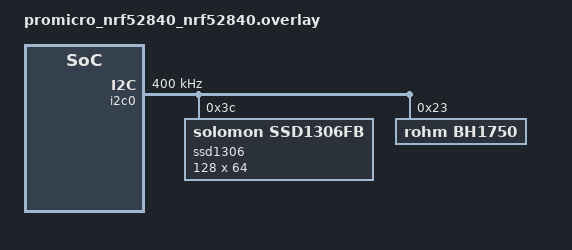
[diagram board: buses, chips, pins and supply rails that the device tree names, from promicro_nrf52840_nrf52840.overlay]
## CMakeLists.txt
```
cmake_minimum_required(VERSION 3.20.0)

find_package(Zephyr REQUIRED HINTS $ENV{ZEPHYR_BASE})
project(nrf52840_ssd1309_display)

# Display subsystem sources
target_sources(app PRIVATE
    src/main.c
    src/font.c
    src/display.c
    src/bh1750/bh1750_reader.c
    src/state/shared_state.c
    src/sensor/sensor_task.c
    src/ui/ui_task.c
    src/display/display_manager.c
)

# Include directories
target_include_directories(app PRIVATE
    ${CMAKE_CURRENT_SOURCE_DIR}/include
    ${CMAKE_CURRENT_SOURCE_DIR}/src
    ${CMAKE_CURRENT_SOURCE_DIR}/src/bh1750
    ${CMAKE_CURRENT_SOURCE_DIR}/src/state
    ${CMAKE_CURRENT_SOURCE_DIR}/src/sensor
    ${CMAKE_CURRENT_SOURCE_DIR}/src/ui
    ${CMAKE_CURRENT_SOURCE_DIR}/src/display
)
```

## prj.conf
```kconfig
# Display subsystem configuration
CONFIG_DISPLAY=y
CONFIG_SSD1306=y

# I2C configuration - nRF52840 uses nrfx driver
CONFIG_I2C=y
CONFIG_SENSOR=y

# Display logging
CONFIG_DISPLAY_LOG_LEVEL_DBG=y

# General logging
CONFIG_LOG=y
CONFIG_LOG_DEFAULT_LEVEL=3

# Threading support
CONFIG_MULTITHREADING=y
CONFIG_NUM_COOP_PRIORITIES=16
CONFIG_NUM_PREEMPT_PRIORITIES=16

CONFIG_BUILD_OUTPUT_UF2=y
```

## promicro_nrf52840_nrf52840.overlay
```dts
/*
 * Device tree overlay for Pro Micro nRF52840 with SSD1309 OLED display
 *
 * I2C Configuration:
 *   SDA: P1.00 (I2C0 SDA)
 *   SCL: P0.11 (I2C0 SCL)
 *   Speed: 400kHz (Fast Mode)
 *
 * Display Configuration:
 *   Controller: SSD1309 (compatible with SSD1306 driver)
 *   Resolution: 128x64 pixels
 *   I2C Address: 0x3C
 *
 * Note: pinctrl (i2c0_default/i2c0_sleep) and pin assignments are already
 * defined in the board's promicro_nrf52840-pinctrl.dtsi with the same pins.
 */

&i2c0 {
    clock-frequency = <I2C_BITRATE_FAST>;

    ssd1306: ssd1306@3c {
        compatible = "solomon,ssd1306fb";
        reg = <0x3c>;
        width = <128>;
        height = <64>;
        segment-offset = <0>;
        page-offset = <0>;
        display-offset = <0>;
        multiplex-ratio = <63>;
        prechargep = <0x22>;
    };

    /* BH1750 ambient light sensor (I2C address 0x23) */
    bh1750: bh1750@23 {
        compatible = "rohm,bh1750";
        reg = <0x23>;
    };
};
```

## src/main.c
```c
/* High level includes */
/* Include standard Zephyr headers compatible with older SDKs */
#include <zephyr/kernel.h>
#include <zephyr/device.h>
#include <zephyr/drivers/display.h>
#include <zephyr/logging/log.h>
/* Runtime arch: two-task approach uses sensor_task/ui_task */
/* Expose task entry points */
extern void sensor_task(void *a, void *b, void *c);
extern void ui_task(void *a, void *b, void *c);

LOG_MODULE_REGISTER(main, CONFIG_DISPLAY_LOG_LEVEL);

/* Thread stacks and priority */
K_THREAD_STACK_DEFINE(sensor_stack, 1024);
K_THREAD_STACK_DEFINE(ui_stack, 1024);
#define SENSOR_THREAD_PRIORITY 7
#define UI_THREAD_PRIORITY 6
static struct k_thread sensor_thread;
static struct k_thread ui_thread;

int main(void)
{
    LOG_INF("========================================");
    LOG_INF("SSD1309 OLED Display Demo");
    LOG_INF("Pro Micro nRF52840");
    LOG_INF("========================================");

    k_tid_t sensor_tid = k_thread_create(&sensor_thread, sensor_stack, 1024,
                                       sensor_task, NULL, NULL, NULL,
                                       SENSOR_THREAD_PRIORITY, 0, K_NO_WAIT);
    if (!sensor_tid) {
        LOG_ERR("Failed to create sensor thread");
        return -1;
    }
    LOG_INF("Sensor thread started (tid: %p)", sensor_tid);

    k_tid_t ui_tid = k_thread_create(&ui_thread, ui_stack, 1024,
                                      ui_task, NULL, NULL, NULL,
                                      UI_THREAD_PRIORITY, 0, K_NO_WAIT);
    if (!ui_tid) {
        LOG_ERR("Failed to create UI thread");
        return -1;
    }
    LOG_INF("UI thread started (tid: %p)", ui_tid);

    while (1) {
        k_sleep(K_SECONDS(1));
    }
    return 0;
}
```

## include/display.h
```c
#ifndef DISPLAY_H_
#define DISPLAY_H_

#include <zephyr/kernel.h>
#include <zephyr/drivers/display.h>

/* Display dimensions */
#define DISPLAY_WIDTH       128
#define DISPLAY_HEIGHT      64
#define DISPLAY_BUFFER_SIZE ((DISPLAY_WIDTH * DISPLAY_HEIGHT) / 8)

/* Font dimensions */
#define FONT_WIDTH  8
#define FONT_HEIGHT 8

/* Maximum characters per line */
#define MAX_CHARS_PER_LINE (DISPLAY_WIDTH / FONT_WIDTH)
#define MAX_LINES          (DISPLAY_HEIGHT / FONT_HEIGHT)

/* Error codes */
#define DISPLAY_SUCCESS         0
#define DISPLAY_ERR_DEVICE     -1
#define DISPLAY_ERR_I2C        -2
#define DISPLAY_ERR_TIMEOUT    -3
#define DISPLAY_ERR_PARAM      -4

/**
 * @brief Initialize the display subsystem
 * @return 0 on success, negative error code on failure
 */
int display_init(void);

/**
 * @brief Write text at specified position
 * @param x X coordinate in pixels (0-127)
 * @param y Y coordinate in pages (0-7, each page is 8 pixels)
 * @param text Null-terminated string
 * @return 0 on success, negative error code on failure
 */
int display_write_text(uint16_t x, uint8_t y, const char *text);

/**
 * @brief Write integer at specified position
 * @param x X coordinate in pixels
 * @param y Y coordinate in pages
 * @param value Integer value to display
 * @return 0 on success, negative error code on failure
 */
int display_write_int(uint16_t x, uint8_t y, int32_t value);

/**
 * @brief Write hex value at specified position
 * @param x X coordinate in pixels
 * @param y Y coordinate in pages
 * @param value Hex value to display
 * @return 0 on success, negative error code on failure
 */
int display_write_hex(uint16_t x, uint8_t y, uint32_t value);

/**
 * @brief Clear the display
 * @return 0 on success, negative error code on failure
 */

/**
 * @brief Set display contrast
 * @param contrast Contrast level (0-255)
 * @return 0 on success, negative error code on failure
 */
int oled_clear(void);

/**
 * @brief Set display contrast (user function, tránh xung đột với Zephyr API)
 * @param contrast Contrast level (0-255)
 * @return 0 on success, negative error code on failure
 */
int oled_set_contrast(uint8_t contrast);

/**
 * @brief Set display inversion mode
 * @param invert true to invert display, false for normal
 * @return 0 on success, negative error code on failure
 */
int display_set_inversion(bool invert);

/**
 * @brief Turn display off (low power)
 * @return 0 on success, negative error code on failure
 */
int display_off(void);

/**
 * @brief Turn display on
 * @return 0 on success, negative error code on failure
 */
int display_on(void);

/**
 * @brief Get display device pointer
 * @return Pointer to display device, NULL if not initialized
 */
const struct device *display_get_device(void);

/**
 * @brief Update display from buffer
 * @return 0 on success, negative error code on failure
 */
int display_update(void);

/**
 * @brief Get frame buffer pointer
 * @return Pointer to frame buffer
 */
uint8_t *display_get_buffer(void);

#endif /* DISPLAY_H_ */
```

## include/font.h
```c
#ifndef FONT_H_
#define FONT_H_

#include <stdint.h>
#include <stdbool.h>
#include <stddef.h>

/* Font dimensions */
#define FONT_WIDTH  8
#define FONT_HEIGHT 8

/* Display dimensions (for bounds checking) */
#define FONT_DISPLAY_WIDTH 128

/* ASCII range */
#define FONT_FIRST_CHAR 32
#define FONT_LAST_CHAR  126
#define FONT_CHAR_COUNT (FONT_LAST_CHAR - FONT_FIRST_CHAR + 1)

/**
 * @brief Get pixel data for a character
 * @param c ASCII character (32-126)
 * @return Pointer to 8-byte glyph data, NULL if character not supported
 */
const uint8_t *font_get_glyph(char c);

/**
 * @brief Render a character to a buffer
 * @param buf Destination buffer (must be at least 8 bytes)
 * @param buf_size Size of destination buffer
 * @param c Character to render
 * @param x X position in pixels
 * @param y Y position in pixels (page address, 0-7)
 * @return 0 on success, -1 if character not supported
 */
int font_render_char(uint8_t *buf, size_t buf_size, char c, uint16_t x, uint8_t y);

/**
 * @brief Check if character is renderable
 * @param c Character to check
 * @return true if character can be rendered
 */
bool font_is_printable(char c);

#endif /* FONT_H_ */
```

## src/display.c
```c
#include "display.h"
#include "font.h"
#include <zephyr/device.h>
#include <zephyr/devicetree.h>
#include <zephyr/drivers/display.h>
#include <zephyr/logging/log.h>
#include <string.h>

#define DISPLAY_NODE DT_NODELABEL(ssd1306)

LOG_MODULE_REGISTER(display, CONFIG_DISPLAY_LOG_LEVEL);

/* Frame buffer - SSD1306 uses 8 pages of 128 bytes each */
static uint8_t frame_buffer[DISPLAY_BUFFER_SIZE];

/* Display device */
static const struct device *display_dev = DEVICE_DT_GET(DISPLAY_NODE);

/* Display initialized flag */
static bool initialized = false;

int display_init(void)
{
    if (!device_is_ready(display_dev)) {
        LOG_ERR("Display device not ready");
        return DISPLAY_ERR_DEVICE;
    }

    /* Clear frame buffer */
    memset(frame_buffer, 0, DISPLAY_BUFFER_SIZE);
    initialized = true;
    LOG_INF("Display initialized successfully");
    LOG_INF("Display device: %s", display_dev->name);
    return DISPLAY_SUCCESS;
}

int display_write_text(uint16_t x, uint8_t y, const char *text)
{
    const char *ptr;
    uint16_t cur_x;
    int ret;

    if (!initialized || text == NULL) {
        return DISPLAY_ERR_PARAM;
    }

    if (y >= MAX_LINES) {
        return DISPLAY_ERR_PARAM;
    }

    cur_x = x;
    ptr = text;

    while (*ptr != '\0' && cur_x < DISPLAY_WIDTH) {
        ret = font_render_char(frame_buffer, DISPLAY_BUFFER_SIZE, *ptr, cur_x, y);
        if (ret < 0) {
            /* Skip unprintable character */
        }
        cur_x += FONT_WIDTH;
        ptr++;
    }

    return DISPLAY_SUCCESS;
}

int display_write_int(uint16_t x, uint8_t y, int32_t value)
{
    char buf[12];  /* -2147483648 + null */
    char *ptr = buf + sizeof(buf) - 1;
    bool negative = false;
    int32_t abs_value;
    int len = 0;

    if (!initialized) {
        return DISPLAY_ERR_PARAM;
    }

    *ptr = '\0';

    if (value < 0) {
        negative = true;
        abs_value = -value;
    } else {
        abs_value = value;
    }

    if (abs_value == 0) {
        *--ptr = '0';
        len = 1;
    } else {
        while (abs_value > 0) {
            *--ptr = '0' + (abs_value % 10);
            abs_value /= 10;
            len++;
        }
    }

    if (negative) {
        *--ptr = '-';
        len++;
    }

    return display_write_text(x, y, ptr);
}

int display_write_hex(uint16_t x, uint8_t y, uint32_t value)
{
    char buf[9];  /* 8 hex digits + null */
    static const char hex_chars[] = "0123456789ABCDEF";
    int i;

    if (!initialized) {
        return DISPLAY_ERR_PARAM;
    }

    buf[8] = '\0';
    for (i = 7; i >= 0; i--) {
        buf[i] = hex_chars[value & 0x0F];
        value >>= 4;
    }

    return display_write_text(x, y, buf);
}

int oled_clear(void)
{
    if (!initialized) {
        return DISPLAY_ERR_PARAM;
    }
    memset(frame_buffer, 0, DISPLAY_BUFFER_SIZE);
    return DISPLAY_SUCCESS;
}

int oled_set_contrast(uint8_t contrast)
{
    int ret;
    struct display_capabilities caps;
    
    if (!initialized) {
        return DISPLAY_ERR_PARAM;
    }

    display_get_capabilities(display_dev, &caps);
    
    /* Use display_blanking_off to ensure display is on */
    ret = display_blanking_off(display_dev);
    if (ret < 0) {
        LOG_ERR("Failed to turn on display: %d", ret);
        return DISPLAY_ERR_I2C;
    }

    return DISPLAY_SUCCESS;
}

int display_set_inversion(bool invert)
{
    if (!initialized) {
        return DISPLAY_ERR_PARAM;
    }

    /* SSD1306 driver doesn't have runtime inversion API */
    /* This would require sending direct commands */
    return DISPLAY_SUCCESS;
}

int display_off(void)
{
    int ret;
    
    if (!initialized) {
        return DISPLAY_ERR_PARAM;
    }

    ret = display_blanking_on(display_dev);
    if (ret < 0) {
        LOG_ERR("Failed to turn off display: %d", ret);
        return DISPLAY_ERR_I2C;
    }

    return DISPLAY_SUCCESS;
}

int display_on(void)
{
    int ret;
    
    if (!initialized) {
        return DISPLAY_ERR_PARAM;
    }

    ret = display_blanking_off(display_dev);
    if (ret < 0) {
        LOG_ERR("Failed to turn on display: %d", ret);
        return DISPLAY_ERR_I2C;
    }

    return DISPLAY_SUCCESS;
}

int display_update(void)
{
    int ret;
    struct display_buffer_descriptor buf_desc = {
        .buf_size = DISPLAY_BUFFER_SIZE,
        .width = DISPLAY_WIDTH,
        .height = DISPLAY_HEIGHT,
        .pitch = DISPLAY_WIDTH,
    };

    if (!initialized) {
        return DISPLAY_ERR_PARAM;
    }

    ret = display_write(display_dev, 0, 0, &buf_desc, frame_buffer);
    if (ret < 0) {
        LOG_ERR("Failed to write display: %d", ret);
        return DISPLAY_ERR_I2C;
    }

    return DISPLAY_SUCCESS;
}

const struct device *display_get_device(void)
{
    return display_dev;
}

uint8_t *display_get_buffer(void)
{
    return frame_buffer;
}
```

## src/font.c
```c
#include "font.h"
#include <string.h>

/*
 * 8x8 pixel font data for ASCII 32-126
 * Each character is 8 bytes, one byte per row (MSB = leftmost pixel)
 */
static const uint8_t font_8x8[FONT_CHAR_COUNT][8] = {
    /* 32 ' ' */ {0x00, 0x00, 0x00, 0x00, 0x00, 0x00, 0x00, 0x00},
    /* 33 '!' */ {0x18, 0x18, 0x18, 0x18, 0x18, 0x00, 0x18, 0x00},
    /* 34 '"' */ {0x6C, 0x6C, 0x24, 0x00, 0x00, 0x00, 0x00, 0x00},
    /* 35 '#' */ {0x6C, 0x6C, 0xFE, 0x6C, 0xFE, 0x6C, 0x6C, 0x00},
    /* 36 '$ */ {0x18, 0x3E, 0x60, 0x3C, 0x06, 0x7C, 0x18, 0x00},
    /* 37 '%' */ {0x00, 0xC6, 0xCC, 0x18, 0x30, 0x66, 0xC6, 0x00},
    /* 38 '&' */ {0x38, 0x6C, 0x38, 0x76, 0xDC, 0xCC, 0x76, 0x00},
    /* 39 ''' */ {0x18, 0x18, 0x30, 0x00, 0x00, 0x00, 0x00, 0x00},
    /* 40 '(' */ {0x0C, 0x18, 0x30, 0x30, 0x30, 0x18, 0x0C, 0x00},
    /* 41 ')' */ {0x30, 0x18, 0x0C, 0x0C, 0x0C, 0x18, 0x30, 0x00},
    /* 42 '*' */ {0x00, 0x66, 0x3C, 0xFF, 0x3C, 0x66, 0x00, 0x00},
    /* 43 '+' */ {0x00, 0x18, 0x18, 0x7E, 0x18, 0x18, 0x00, 0x00},
    /* 44 ',' */ {0x00, 0x00, 0x00, 0x00, 0x00, 0x18, 0x18, 0x30},
    /* 45 '-' */ {0x00, 0x00, 0x00, 0x7E, 0x00, 0x00, 0x00, 0x00},
    /* 46 '.' */ {0x00, 0x00, 0x00, 0x00, 0x00, 0x18, 0x18, 0x00},
    /* 47 '/' */ {0x06, 0x0C, 0x18, 0x30, 0x60, 0xC0, 0x80, 0x00},
    /* 48 '0' */ {0x7C, 0xC6, 0xCE, 0xD6, 0xE6, 0xC6, 0x7C, 0x00},
    /* 49 '1' */ {0x18, 0x38, 0x18, 0x18, 0x18, 0x18, 0x7E, 0x00},
    /* 50 '2' */ {0x7C, 0xC6, 0x06, 0x1C, 0x30, 0x66, 0xFE, 0x00},
    /* 51 '3' */ {0x7C, 0xC6, 0x06, 0x3C, 0x06, 0xC6, 0x7C, 0x00},
    /* 52 '4' */ {0x1C, 0x3C, 0x6C, 0xCC, 0xFE, 0x0C, 0x1E, 0x00},
    /* 53 '5' */ {0xFE, 0xC0, 0xC0, 0xFC, 0x06, 0xC6, 0x7C, 0x00},
    /* 54 '6' */ {0x38, 0x60, 0xC0, 0xFC, 0xC6, 0xC6, 0x7C, 0x00},
    /* 55 '7' */ {0xFE, 0xC6, 0x0C, 0x18, 0x30, 0x30, 0x30, 0x00},
    /* 56 '8' */ {0x7C, 0xC6, 0xC6, 0x7C, 0xC6, 0xC6, 0x7C, 0x00},
    /* 57 '9' */ {0x7C, 0xC6, 0xC6, 0x7E, 0x06, 0x0C, 0x78, 0x00},
    /* 58 ':' */ {0x00, 0x18, 0x18, 0x00, 0x00, 0x18, 0x18, 0x00},
    /* 59 ';' */ {0x00, 0x18, 0x18, 0x00, 0x00, 0x18, 0x18, 0x30},
    /* 60 '<' */ {0x06, 0x0C, 0x18, 0x30, 0x18, 0x0C, 0x06, 0x00},
    /* 61 '=' */ {0x00, 0x00, 0x7E, 0x00, 0x00, 0x7E, 0x00, 0x00},
    /* 62 '>' */ {0x60, 0x30, 0x18, 0x0C, 0x18, 0x30, 0x60, 0x00},
    /* 63 '?' */ {0x7C, 0xC6, 0x0C, 0x18, 0x18, 0x00, 0x18, 0x00},
    /* 64 '@' */ {0x7C, 0xC6, 0xDE, 0xDE, 0xDE, 0xC0, 0x78, 0x00},
    /* 65 'A' */ {0x38, 0x6C, 0xC6, 0xC6, 0xFE, 0xC6, 0xC6, 0x00},
    /* 66 'B' */ {0xFC, 0x66, 0x66, 0x7C, 0x66, 0x66, 0xFC, 0x00},
    /* 67 'C' */ {0x3C, 0x66, 0xC0, 0xC0, 0xC0, 0x66, 0x3C, 0x00},
    /* 68 'D' */ {0xF8, 0x6C, 0x66, 0x66, 0x66, 0x6C, 0xF8, 0x00},
    /* 69 'E' */ {0xFE, 0x62, 0x68, 0x78, 0x68, 0x62, 0xFE, 0x00},
    /* 70 'F' */ {0xFE, 0x62, 0x68, 0x78, 0x68, 0x60, 0xF0, 0x00},
    /* 71 'G' */ {0x3C, 0x66, 0xC0, 0xC0, 0xCE, 0x66, 0x3A, 0x00},
    /* 72 'H' */ {0xC6, 0xC6, 0xC6, 0xFE, 0xC6, 0xC6, 0xC6, 0x00},
    /* 73 'I' */ {0x3C, 0x18, 0x18, 0x18, 0x18, 0x18, 0x3C, 0x00},
    /* 74 'J' */ {0x1E, 0x0C, 0x0C, 0x0C, 0xCC, 0xCC, 0x78, 0x00},
    /* 75 'K' */ {0xE6, 0x66, 0x6C, 0x78, 0x6C, 0x66, 0xE6, 0x00},
    /* 76 'L' */ {0xF0, 0x60, 0x60, 0x60, 0x62, 0x66, 0xFE, 0x00},
    /* 77 'M' */ {0xC6, 0xEE, 0xFE, 0xFE, 0xD6, 0xC6, 0xC6, 0x00},
    /* 78 'N' */ {0xC6, 0xE6, 0xF6, 0xDE, 0xCE, 0xC6, 0xC6, 0x00},
    /* 79 'O' */ {0x7C, 0xC6, 0xC6, 0xC6, 0xC6, 0xC6, 0x7C, 0x00},
    /* 80 'P' */ {0xFC, 0x66, 0x66, 0x7C, 0x60, 0x60, 0xF0, 0x00},
    /* 81 'Q' */ {0x7C, 0xC6, 0xC6, 0xC6, 0xC6, 0xCE, 0x7C, 0x0E},
    /* 82 'R' */ {0xFC, 0x66, 0x66, 0x7C, 0x6C, 0x66, 0xE6, 0x00},
    /* 83 'S' */ {0x7C, 0xC6, 0x60, 0x38, 0x0C, 0xC6, 0x7C, 0x00},
    /* 84 'T' */ {0x7E, 0x7E, 0x5A, 0x18, 0x18, 0x18, 0x3C, 0x00},
    /* 85 'U' */ {0xC6, 0xC6, 0xC6, 0xC6, 0xC6, 0xC6, 0x7C, 0x00},
    /* 86 'V' */ {0xC6, 0xC6, 0xC6, 0xC6, 0xC6, 0x6C, 0x38, 0x00},
    /* 87 'W' */ {0xC6, 0xC6, 0xC6, 0xD6, 0xFE, 0xEE, 0xC6, 0x00},
    /* 88 'X' */ {0xC6, 0xC6, 0x6C, 0x38, 0x6C, 0xC6, 0xC6, 0x00},
    /* 89 'Y' */ {0x66, 0x66, 0x66, 0x3C, 0x18, 0x18, 0x3C, 0x00},
    /* 90 'Z' */ {0xFE, 0xC6, 0x8C, 0x18, 0x32, 0x66, 0xFE, 0x00},
    /* 91 '[' */ {0x3C, 0x30, 0x30, 0x30, 0x30, 0x30, 0x3C, 0x00},
    /* 92 '\' */ {0xC0, 0x60, 0x30, 0x18, 0x0C, 0x06, 0x02, 0x00},
    /* 93 ']' */ {0x3C, 0x0C, 0x0C, 0x0C, 0x0C, 0x0C, 0x3C, 0x00},
    /* 94 '^' */ {0x10, 0x38, 0x6C, 0xC6, 0x00, 0x00, 0x00, 0x00},
    /* 95 '_' */ {0x00, 0x00, 0x00, 0x00, 0x00, 0x00, 0x00, 0xFF},
    /* 96 '`' */ {0x30, 0x18, 0x0C, 0x00, 0x00, 0x00, 0x00, 0x00},
    /* 97 'a' */ {0x00, 0x00, 0x78, 0x0C, 0x7C, 0xCC, 0x76, 0x00},
    /* 98 'b' */ {0xE0, 0x60, 0x60, 0x7C, 0x66, 0x66, 0xDC, 0x00},
    /* 99 'c' */ {0x00, 0x00, 0x78, 0xCC, 0xC0, 0xCC, 0x78, 0x00},
    /* 100 'd' */ {0x1C, 0x0C, 0x0C, 0x7C, 0xCC, 0xCC, 0x76, 0x00},
    /* 101 'e' */ {0x00, 0x00, 0x78, 0xCC, 0xFC, 0xC0, 0x78, 0x00},
    /* 102 'f' */ {0x38, 0x6C, 0x64, 0xF0, 0x60, 0x60, 0xF0, 0x00},
    /* 103 'g' */ {0x00, 0x00, 0x76, 0xCC, 0xCC, 0x7C, 0x0C, 0xF8},
    /* 104 'h' */ {0xE0, 0x60, 0x6C, 0x76, 0x66, 0x66, 0xE6, 0x00},
    /* 105 'i' */ {0x18, 0x00, 0x38, 0x18, 0x18, 0x18, 0x3C, 0x00},
    /* 106 'j' */ {0x06, 0x00, 0x06, 0x06, 0x06, 0x66, 0x66, 0x3C},
    /* 107 'k' */ {0xE0, 0x60, 0x66, 0x6C, 0x78, 0x6C, 0xE6, 0x00},
    /* 108 'l' */ {0x38, 0x18, 0x18, 0x18, 0x18, 0x18, 0x3C, 0x00},
    /* 109 'm' */ {0x00, 0x00, 0xEC, 0xFE, 0xD6, 0xD6, 0xD6, 0x00},
    /* 110 'n' */ {0x00, 0x00, 0xDC, 0x66, 0x66, 0x66, 0x66, 0x00},
    /* 111 'o' */ {0x00, 0x00, 0x78, 0xCC, 0xCC, 0xCC, 0x78, 0x00},
    /* 112 'p' */ {0x00, 0x00, 0xDC, 0x66, 0x66, 0x7C, 0x60, 0xF0},
    /* 113 'q' */ {0x00, 0x00, 0x76, 0xCC, 0xCC, 0x7C, 0x0C, 0x1E},
    /* 114 'r' */ {0x00, 0x00, 0xDC, 0x76, 0x60, 0x60, 0xF0, 0x00},
    /* 115 's' */ {0x00, 0x00, 0x7C, 0xC0, 0x70, 0x1C, 0xF8, 0x00},
    /* 116 't' */ {0x30, 0x30, 0xFC, 0x30, 0x30, 0x34, 0x18, 0x00},
    /* 117 'u' */ {0x00, 0x00, 0xCC, 0xCC, 0xCC, 0xCC, 0x76, 0x00},
    /* 118 'v' */ {0x00, 0x00, 0xC6, 0xC6, 0xC6, 0x6C, 0x38, 0x00},
    /* 119 'w' */ {0x00, 0x00, 0xC6, 0xD6, 0xD6, 0xFE, 0x6C, 0x00},
    /* 120 'x' */ {0x00, 0x00, 0xC6, 0x6C, 0x38, 0x6C, 0xC6, 0x00},
    /* 121 'y' */ {0x00, 0x00, 0xC6, 0xC6, 0xC6, 0x7E, 0x06, 0xFC},
    /* 122 'z' */ {0x00, 0x00, 0x7E, 0x4C, 0x18, 0x32, 0x7E, 0x00},
    /* 123 '{' */ {0x0E, 0x18, 0x18, 0x70, 0x18, 0x18, 0x0E, 0x00},
    /* 124 '|' */ {0x18, 0x18, 0x18, 0x00, 0x18, 0x18, 0x18, 0x00},
    /* 125 '}' */ {0x70, 0x18, 0x18, 0x0E, 0x18, 0x18, 0x70, 0x00},
    /* 126 '~' */ {0x76, 0xDC, 0x00, 0x00, 0x00, 0x00, 0x00, 0x00},
};

const uint8_t *font_get_glyph(char c)
{
    if (c < FONT_FIRST_CHAR || c > FONT_LAST_CHAR) {
        return NULL;
    }
    return font_8x8[c - FONT_FIRST_CHAR];
}

int font_render_char(uint8_t *buf, size_t buf_size, char c, uint16_t x, uint8_t y)
{
    const uint8_t *glyph;
    uint8_t i, j;

    if (buf == NULL || buf_size == 0) {
        return -1;
    }

    glyph = font_get_glyph(c);
    if (glyph == NULL) {
        return -1;
    }

    /* Check if character fits within display width */
    if (x + FONT_WIDTH > FONT_DISPLAY_WIDTH) {
        return -1;
    }

    /* SSD1306 memory layout: 8 pages, 128 bytes per page
     * Each byte represents 8 vertical pixels at one column
     * Page y covers rows y*8 to y*8+7
     * Buffer index: page * 128 + column
     *
     * Font is 8x8 pixels. For each pixel in glyph:
     * - glyph[i] contains row i (8 horizontal pixels, bit 0 = leftmost)
     * - pixel (bit_j, row_i) maps to buffer[page, column = x + j]
     *   where page = y (each glyph row spans 8 vertical pixels = 1 page)
     *   and bit position = i (0-7 within the byte)
     */

    for (i = 0; i < 8; i++) {
        /* Each glyph byte represents one row of 8 pixels
         * Font data uses MSB = leftmost pixel (bit 7 = col x+0, bit 0 = col x+7)
         */
        for (j = 0; j < 8; j++) {
            if (glyph[i] & (0x80 >> j)) {
                /* Bit (7-j) is set in row i of the glyph
                 * This pixel goes to:
                 *   - Page: y (since each glyph row = 8 vertical pixels = 1 page)
                 *   - Column: x + j
                 *   - Bit position: i (0-7, vertical position within the byte)
                 */
                uint16_t col = x + j;
                uint16_t byte_idx = (uint16_t)y * 128 + col;

                if (byte_idx < buf_size) {
                    buf[byte_idx] |= (1 << i);
                }
            }
        }
    }

    return 0;
}

bool font_is_printable(char c)
{
    return (c >= FONT_FIRST_CHAR && c <= FONT_LAST_CHAR);
}
```
